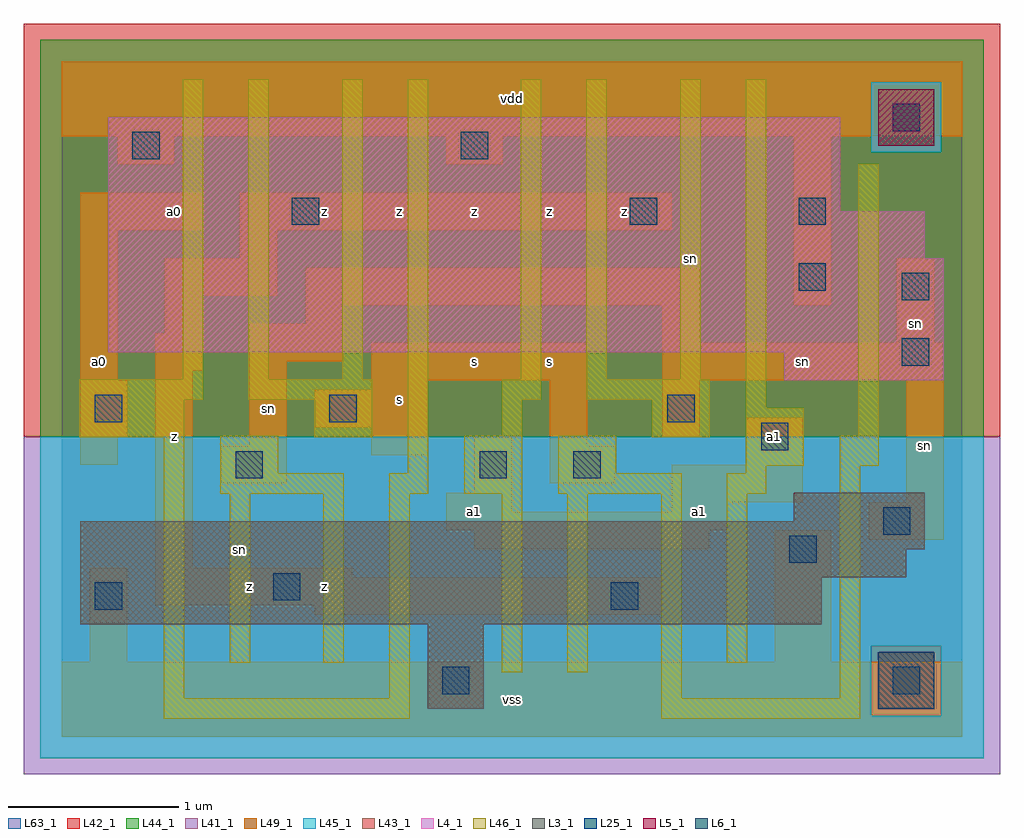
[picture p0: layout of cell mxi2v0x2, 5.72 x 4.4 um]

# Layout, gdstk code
import gdstk
lib = gdstk.Library(unit=1e-6, precision=1e-09)
def R(c, l, rs):  # rectangles x0, y0, x1, y1
    for r in rs: c.add(gdstk.rectangle(r[:2], r[2:], *l))
L3_1 = (3, 1)
L4_1 = (4, 1)
L5_1 = (5, 1)
L6_1 = (6, 1)
L25_1 = (25, 1)
L41_1 = (41, 1)
L42_1 = (42, 1)
L43_1 = (43, 1)
L44_1 = (44, 1)
L45_1 = (45, 1)
L46_1 = (46, 1)
L49_1 = (49, 1)
L63_1 = (63, 1)

mxi2v0x2 = lib.new_cell('mxi2v0x2')
R(mxi2v0x2, L3_1, [(2.145,0.165,2.475,0.66), (0.11,0.66,4.455,0.935), (0.11,0.935,4.95,1.1), (0.11,1.1,5.06,1.265), (4.29,1.265,5.06,1.43)])
R(mxi2v0x2, L4_1, [(4.235,2.09,5.17,2.255), (0.275,2.255,5.17,2.805), (0.275,2.805,5.06,3.08), (0.275,3.08,4.565,3.63)])
R(mxi2v0x2, L5_1, [(4.785,3.465,5.115,3.795)])
R(mxi2v0x2, L6_1, [(4.785,0.165,5.115,0.495)])
R(mxi2v0x2, L25_1, [(2.23,0.25,2.39,0.41), (4.87,0.25,5.03,0.41), (0.195,0.745,0.355,0.905), (3.22,0.745,3.38,0.905), (1.24,0.8,1.4,0.96), (4.265,1.02,4.425,1.18), (4.815,1.185,4.975,1.345), (1.02,1.515,1.18,1.675), (2.45,1.515,2.61,1.675), (3,1.515,3.16,1.675), (4.1,1.68,4.26,1.84), (0.195,1.845,0.355,2.005), (1.57,1.845,1.73,2.005), (3.55,1.845,3.71,2.005), (4.925,2.175,5.085,2.335), (4.925,2.56,5.085,2.72), (4.32,2.615,4.48,2.775), (1.35,3,1.51,3.16), (3.33,3,3.49,3.16), (4.32,3,4.48,3.16), (0.415,3.385,0.575,3.545), (2.34,3.385,2.5,3.545), (4.87,3.55,5.03,3.71)])
R(mxi2v0x2, L41_1, [(-0.22,-0.22,5.5,1.76)])
R(mxi2v0x2, L42_1, [(-0.22,1.76,5.5,4.18)])
R(mxi2v0x2, L43_1, [(2.145,0.165,2.475,0.66), (4.785,0.165,5.115,0.495), (0.11,0.66,4.455,0.935), (0.11,0.935,4.95,1.1), (0.11,1.1,5.06,1.265), (4.29,1.265,5.06,1.43), (4.235,2.09,5.17,2.255), (0.275,2.255,5.17,2.805), (0.275,2.805,5.06,3.08), (0.275,3.08,4.565,3.63), (4.785,3.465,5.115,3.795)])
R(mxi2v0x2, L44_1, [(4.745,0.125,5.155,0.535), (-0.125,1.76,5.405,3.425), (-0.125,3.425,4.745,3.835), (5.155,3.425,5.405,3.835), (-0.125,3.835,5.405,4.085)])
R(mxi2v0x2, L45_1, [(-0.125,-0.125,5.405,0.125), (-0.125,0.125,4.745,0.535), (5.155,0.125,5.405,0.535), (-0.125,0.535,5.405,1.76), (4.745,3.425,5.155,3.835)])
R(mxi2v0x2, L46_1, [(0.6,0.105,2.04,0.225), (3.515,0.105,4.68,0.225), (0.6,0.225,0.72,1.755), (1.92,0.225,2.04,1.425), (3.515,0.225,3.635,1.425), (4.56,0.225,4.68,1.59), (2.58,0.38,2.7,1.425), (2.965,0.38,3.085,1.425), (0.985,0.435,1.105,1.425), (1.535,0.435,1.655,1.425), (3.9,0.435,4.02,1.425), (0.93,1.425,1.655,1.545), (1.92,1.425,2.15,1.545), (2.36,1.425,2.7,1.765), (2.91,1.425,3.635,1.545), (3.9,1.425,4.13,1.545), (0.93,1.545,1.27,1.765), (2.03,1.545,2.15,3.855), (2.91,1.545,3.25,1.765), (4.01,1.545,4.13,1.59), (4.01,1.59,4.35,1.93), (4.56,1.59,4.79,1.765), (0.105,1.755,0.72,1.975), (1.48,1.755,1.82,1.975), (3.46,1.755,3.8,1.975), (2.58,1.765,2.7,1.975), (4.67,1.765,4.79,3.36), (4.01,1.93,4.13,3.855), (0.105,1.975,0.83,2.095), (1.095,1.975,1.82,2.095), (2.58,1.975,2.81,2.095), (3.075,1.975,3.8,2.095), (0.71,2.095,0.83,3.855), (1.095,2.095,1.215,3.855), (1.645,2.095,1.765,3.855), (2.69,2.095,2.81,3.855), (3.075,2.095,3.195,3.855), (3.625,2.095,3.745,3.855)])
R(mxi2v0x2, L49_1, [(0,0,5.28,0.44), (0.165,0.44,0.385,0.99), (4.18,0.44,4.51,1.21), (1.485,0.715,3.52,0.77), (0.55,0.77,3.52,0.935), (0.55,0.935,1.705,0.99), (0.55,0.99,0.77,2.145), (2.42,1.1,3.795,1.21), (4.73,1.155,5.17,1.375), (2.255,1.21,3.905,1.32), (2.255,1.32,2.64,1.43), (3.575,1.32,3.905,1.375), (3.575,1.375,4.345,1.595), (4.95,1.375,5.17,2.09), (2.42,1.43,2.64,1.76), (0.935,1.485,1.32,1.705), (2.86,1.485,3.245,1.705), (0.11,1.595,0.33,1.76), (4.015,1.595,4.345,1.87), (1.815,1.65,2.145,1.815), (1.1,1.705,1.32,2.2), (2.86,1.705,3.08,2.09), (0.11,1.76,0.385,2.09), (3.52,1.76,3.74,2.09), (1.485,1.815,2.145,2.035), (1.815,2.035,2.145,2.09), (0.11,2.09,0.33,2.97), (1.815,2.09,3.08,2.31), (3.52,2.09,5.17,2.31), (0.55,2.145,0.825,2.365), (1.1,2.2,1.65,2.42), (3.52,2.31,3.74,2.53), (4.895,2.31,5.115,2.805), (0.605,2.365,0.825,2.585), (1.43,2.42,1.65,2.53), (1.43,2.53,3.74,2.75), (4.29,2.53,4.51,3.52), (0.605,2.585,1.265,2.805), (1.045,2.805,1.265,2.97), (0.11,2.97,0.825,3.19), (1.045,2.97,3.575,3.19), (0.33,3.355,0.66,3.52), (2.255,3.355,2.585,3.52), (0,3.52,5.28,3.96)])
R(mxi2v0x2, L63_1, [(0,0,5.28,3.96)])
mxi2v0x2.add(gdstk.Label('sn', (1.045,1.1), layer=46, texttype=1))
mxi2v0x2.add(gdstk.Label('sn', (3.685,2.805), layer=46, texttype=1))
mxi2v0x2.add(gdstk.Label('z', (0.66,1.76), layer=49, texttype=1))
mxi2v0x2.add(gdstk.Label('a0', (0.22,2.2), layer=49, texttype=1))
mxi2v0x2.add(gdstk.Label('a0', (0.66,3.08), layer=49, texttype=1))
mxi2v0x2.add(gdstk.Label('z', (1.54,0.88), layer=49, texttype=1))
mxi2v0x2.add(gdstk.Label('z', (1.1,0.88), layer=49, texttype=1))
mxi2v0x2.add(gdstk.Label('sn', (1.21,1.925), layer=49, texttype=1))
mxi2v0x2.add(gdstk.Label('z', (1.54,3.08), layer=49, texttype=1))
mxi2v0x2.add(gdstk.Label('vss', (2.64,0.22), layer=49, texttype=1))
mxi2v0x2.add(gdstk.Label('a1', (2.42,1.32), layer=49, texttype=1))
mxi2v0x2.add(gdstk.Label('s', (1.98,1.98), layer=49, texttype=1))
mxi2v0x2.add(gdstk.Label('s', (2.86,2.2), layer=49, texttype=1))
mxi2v0x2.add(gdstk.Label('s', (2.42,2.2), layer=49, texttype=1))
mxi2v0x2.add(gdstk.Label('z', (2.86,3.08), layer=49, texttype=1))
mxi2v0x2.add(gdstk.Label('z', (2.42,3.08), layer=49, texttype=1))
mxi2v0x2.add(gdstk.Label('z', (1.98,3.08), layer=49, texttype=1))
mxi2v0x2.add(gdstk.Label('vdd', (2.64,3.74), layer=49, texttype=1))
mxi2v0x2.add(gdstk.Label('a1', (3.74,1.32), layer=49, texttype=1))
mxi2v0x2.add(gdstk.Label('a1', (4.18,1.76), layer=49, texttype=1))
mxi2v0x2.add(gdstk.Label('z', (3.3,3.08), layer=49, texttype=1))
mxi2v0x2.add(gdstk.Label('sn', (5.06,1.705), layer=49, texttype=1))
mxi2v0x2.add(gdstk.Label('sn', (4.345,2.2), layer=49, texttype=1))
mxi2v0x2.add(gdstk.Label('sn', (5.005,2.42), layer=49, texttype=1))

lib.write_gds('mxi2v0x2.gds')
